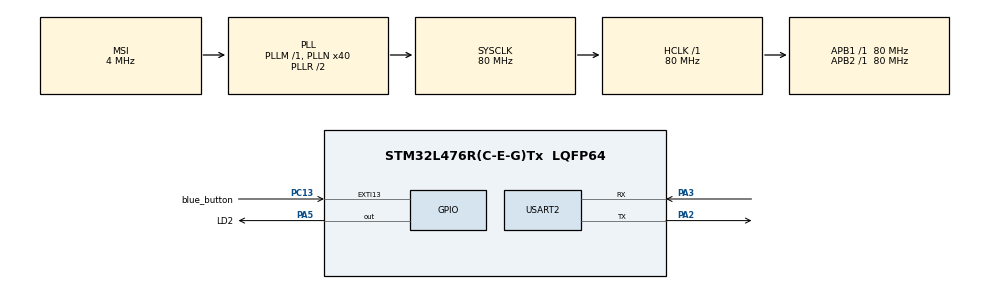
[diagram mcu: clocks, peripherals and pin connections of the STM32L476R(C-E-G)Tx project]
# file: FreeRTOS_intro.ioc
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Mcu.Family=STM32L4
RCC.MSI_VALUE=4000000
PA14\ (JTCK-SWCLK).Mode=Serial_Wire
VP_SYS_VS_tim6.Mode=TIM6
RCC.CortexFreq_Value=80000000
FREERTOS.Tasks01=blink01,24,128,StartBlink01,Default,NULL,Static,blink01Buffer,blink01ControlBlock;blink02,16,128,StartBlink02,Default,NULL,Static,blink02Buffer,blink02ControlBlock;button,40,128,StartTask03,Default,NULL,Static,buttonBuffer,buttonControlBlock
FREERTOS.BinarySemaphores01=sema_test,Static,sema_testControlBlock
NVIC.TIM6_DAC_IRQn=true\:0\:0\:false\:false\:true\:false\:false\:true
PH0-OSC_IN\ (PH0).Signal=RCC_OSC_IN
PC13.Signal=GPXTI13
PC13.GPIO_Label=blue_button
NVIC.USART2_IRQn=true\:5\:0\:false\:false\:true\:true\:true\:true
PH1-OSC_OUT\ (PH1).Signal=RCC_OSC_OUT
RCC.SYSCLKSource=RCC_SYSCLKSOURCE_PLLCLK
ProjectManager.StackSize=0x400
VP_FREERTOS_VS_CMSIS_V2.Mode=CMSIS_V2
PA14\ (JTCK-SWCLK).Signal=SYS_JTCK-SWCLK
PA3.Mode=Asynchronous
ProjectManager.TargetToolchain=STM32CubeIDE
RCC.HCLKFreq_Value=80000000
RCC.APB2TimFreq_Value=80000000
RCC.LSE_VALUE=32768
RCC.AHBFreq_Value=80000000
NVIC.EXTI15_10_IRQn=true\:5\:0\:false\:false\:true\:true\:true\:true
PA5.Signal=GPIO_Output
PH1-OSC_OUT\ (PH1).Mode=HSE-External-Oscillator
RCC.HSE_VALUE=8000000
board=custom
USART2.VirtualMode-Asynchronous=VM_ASYNC
RCC.VCOOutputFreq_Value=160000000
RCC.APB2Freq_Value=80000000
Mcu.Name=STM32L476R(C-E-G)Tx
PA2.Signal=USART2_TX
PA13\ (JTMS-SWDIO).Mode=Serial_Wire
RCC.SYSCLKFreq_VALUE=80000000
Mcu.Package=LQFP64
NVIC.TimeBase=TIM6_DAC_IRQn
PA5.GPIO_Label=LD2
PC13.GPIO_ModeDefaultEXTI=GPIO_MODE_IT_FALLING
NVIC.TimeBaseIP=TIM6
ProjectManager.HeapSize=0x200
FREERTOS.Timers01=timer_test,timer_callback,osTimerPeriodic,Default,NULL,Static,timer_testControlBlock
RCC.HSI_VALUE=16000000
FREERTOS.Mutexes01=protect,Static,myMutex01ControlBlock
NVIC.PriorityGroup=NVIC_PRIORITYGROUP_4
RCC.PLLN=40
RCC.APB1TimFreq_Value=80000000
PA2.Mode=Asynchronous
PA13\ (JTMS-SWDIO).Signal=SYS_JTMS-SWDIO
RCC.APB1Freq_Value=80000000
PH0-OSC_IN\ (PH0).Mode=HSE-External-Oscillator
NVIC.RCC_IRQn=true\:5\:0\:false\:false\:true\:true\:true\:false
PA3.Signal=USART2_RX

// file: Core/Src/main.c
/* USER CODE BEGIN Header */
/**
  ******************************************************************************
  * @file           : main.c
  * @brief          : Main program body
  ******************************************************************************
  * @attention
  *
  * <h2><center>&copy; Copyright (c) 2021 STMicroelectronics.
  * All rights reserved.</center></h2>
  *
  * This software component is licensed by ST under BSD 3-Clause license,
  * the "License"; You may not use this file except in compliance with the
  * License. You may obtain a copy of the License at:
  *                        opensource.org/licenses/BSD-3-Clause
  *
  ******************************************************************************
  */
/* USER CODE END Header */
#include "main.h"
#include "cmsis_os.h"

typedef StaticTask_t osStaticThreadDef_t;
typedef StaticTimer_t osStaticTimerDef_t;
typedef StaticSemaphore_t osStaticMutexDef_t;
typedef StaticSemaphore_t osStaticSemaphoreDef_t;

UART_HandleTypeDef huart2;

/* Definitions for blink01 */
osThreadId_t blink01Handle;
uint32_t blink01Buffer[ 128 ];
osStaticThreadDef_t blink01ControlBlock;
const osThreadAttr_t blink01_attributes = {
  .name = "blink01",
  .cb_mem = &blink01ControlBlock,
  .cb_size = sizeof(blink01ControlBlock),
  .stack_mem = &blink01Buffer[0],
  .stack_size = sizeof(blink01Buffer),
  .priority = (osPriority_t) osPriorityNormal,
};
/* Definitions for blink02 */
osThreadId_t blink02Handle;
uint32_t blink02Buffer[ 128 ];
osStaticThreadDef_t blink02ControlBlock;
const osThreadAttr_t blink02_attributes = {
  .name = "blink02",
  .cb_mem = &blink02ControlBlock,
  .cb_size = sizeof(blink02ControlBlock),
  .stack_mem = &blink02Buffer[0],
  .stack_size = sizeof(blink02Buffer),
  .priority = (osPriority_t) osPriorityBelowNormal,
};
/* Definitions for button */
osThreadId_t buttonHandle;
uint32_t buttonBuffer[ 128 ];
osStaticThreadDef_t buttonControlBlock;
const osThreadAttr_t button_attributes = {
  .name = "button",
  .cb_mem = &buttonControlBlock,
  .cb_size = sizeof(buttonControlBlock),
  .stack_mem = &buttonBuffer[0],
  .stack_size = sizeof(buttonBuffer),
  .priority = (osPriority_t) osPriorityHigh,
};
/* Definitions for timer_test */
osTimerId_t timer_testHandle;
osStaticTimerDef_t timer_testControlBlock;
const osTimerAttr_t timer_test_attributes = {
  .name = "timer_test",
  .cb_mem = &timer_testControlBlock,
  .cb_size = sizeof(timer_testControlBlock),
};
/* Definitions for protect */
osMutexId_t protectHandle;
osStaticMutexDef_t myMutex01ControlBlock;
const osMutexAttr_t protect_attributes = {
  .name = "protect",
  .cb_mem = &myMutex01ControlBlock,
  .cb_size = sizeof(myMutex01ControlBlock),
};
/* Definitions for sema_test */
osSemaphoreId_t sema_testHandle;
osStaticSemaphoreDef_t sema_testControlBlock;
const osSemaphoreAttr_t sema_test_attributes = {
  .name = "sema_test",
  .cb_mem = &sema_testControlBlock,
  .cb_size = sizeof(sema_testControlBlock),
};

void SystemClock_Config(void);
static void MX_GPIO_Init(void);
static void MX_USART2_UART_Init(void);
void StartBlink01(void *argument);
void StartBlink02(void *argument);
void StartTask03(void *argument);
void timer_callback(void *argument);

int main(void)
{

  /* MCU Configuration--------------------------------------------------------*/

  /* Reset of all peripherals, Initializes the Flash interface and the Systick. */
  HAL_Init();

  /* Configure the system clock */
  SystemClock_Config();

  /* Initialize all configured peripherals */
  MX_GPIO_Init();
  MX_USART2_UART_Init();

  /* Init scheduler */
  osKernelInitialize();
  /* Create the mutex(es) */
  /* creation of protect */
  protectHandle = osMutexNew(&protect_attributes);

  /* Create the semaphores(s) */
  /* creation of sema_test */
  sema_testHandle = osSemaphoreNew(1, 1, &sema_test_attributes);

  /* Create the timer(s) */
  /* creation of timer_test */
  timer_testHandle = osTimerNew(timer_callback, osTimerPeriodic, NULL, &timer_test_attributes);

  /* Create the thread(s) */
  /* creation of blink01 */
  blink01Handle = osThreadNew(StartBlink01, NULL, &blink01_attributes);

  /* creation of blink02 */
  blink02Handle = osThreadNew(StartBlink02, NULL, &blink02_attributes);

  /* creation of button */
  buttonHandle = osThreadNew(StartTask03, NULL, &button_attributes);

  /* Start scheduler */
  osKernelStart();

  /* We should never get here as control is now taken by the scheduler */
  /* Infinite loop */
  while (1)
  {

  }
}

void SystemClock_Config(void)
{
  RCC_OscInitTypeDef RCC_OscInitStruct = {0};
  RCC_ClkInitTypeDef RCC_ClkInitStruct = {0};
  RCC_PeriphCLKInitTypeDef PeriphClkInit = {0};

  /** Initializes the RCC Oscillators according to the specified parameters
  * in the RCC_OscInitTypeDef structure.
  */
  RCC_OscInitStruct.OscillatorType = RCC_OSCILLATORTYPE_MSI;
  RCC_OscInitStruct.MSIState = RCC_MSI_ON;
  RCC_OscInitStruct.MSICalibrationValue = 0;
  RCC_OscInitStruct.MSIClockRange = RCC_MSIRANGE_6;
  RCC_OscInitStruct.PLL.PLLState = RCC_PLL_ON;
  RCC_OscInitStruct.PLL.PLLSource = RCC_PLLSOURCE_MSI;
  RCC_OscInitStruct.PLL.PLLM = 1;
  RCC_OscInitStruct.PLL.PLLN = 40;
  RCC_OscInitStruct.PLL.PLLP = RCC_PLLP_DIV7;
  RCC_OscInitStruct.PLL.PLLQ = RCC_PLLQ_DIV2;
  RCC_OscInitStruct.PLL.PLLR = RCC_PLLR_DIV2;
  if (HAL_RCC_OscConfig(&RCC_OscInitStruct) != HAL_OK)
  {
    Error_Handler();
  }
  /** Initializes the CPU, AHB and APB buses clocks
  */
  RCC_ClkInitStruct.ClockType = RCC_CLOCKTYPE_HCLK|RCC_CLOCKTYPE_SYSCLK
                              |RCC_CLOCKTYPE_PCLK1|RCC_CLOCKTYPE_PCLK2;
  RCC_ClkInitStruct.SYSCLKSource = RCC_SYSCLKSOURCE_PLLCLK;
  RCC_ClkInitStruct.AHBCLKDivider = RCC_SYSCLK_DIV1;
  RCC_ClkInitStruct.APB1CLKDivider = RCC_HCLK_DIV1;
  RCC_ClkInitStruct.APB2CLKDivider = RCC_HCLK_DIV1;

  if (HAL_RCC_ClockConfig(&RCC_ClkInitStruct, FLASH_LATENCY_4) != HAL_OK)
  {
    Error_Handler();
  }
  PeriphClkInit.PeriphClockSelection = RCC_PERIPHCLK_USART2;
  PeriphClkInit.Usart2ClockSelection = RCC_USART2CLKSOURCE_PCLK1;
  if (HAL_RCCEx_PeriphCLKConfig(&PeriphClkInit) != HAL_OK)
  {
    Error_Handler();
  }
  /** Configure the main internal regulator output voltage
  */
  if (HAL_PWREx_ControlVoltageScaling(PWR_REGULATOR_VOLTAGE_SCALE1) != HAL_OK)
  {
    Error_Handler();
  }
}

static void MX_USART2_UART_Init(void)
{

  huart2.Instance = USART2;
  huart2.Init.BaudRate = 115200;
  huart2.Init.WordLength = UART_WORDLENGTH_8B;
  huart2.Init.StopBits = UART_STOPBITS_1;
  huart2.Init.Parity = UART_PARITY_NONE;
  huart2.Init.Mode = UART_MODE_TX_RX;
  huart2.Init.HwFlowCtl = UART_HWCONTROL_NONE;
  huart2.Init.OverSampling = UART_OVERSAMPLING_16;
  huart2.Init.OneBitSampling = UART_ONE_BIT_SAMPLE_DISABLE;
  huart2.AdvancedInit.AdvFeatureInit = UART_ADVFEATURE_NO_INIT;
  if (HAL_UART_Init(&huart2) != HAL_OK)
  {
    Error_Handler();
  }

}

static void MX_GPIO_Init(void)
{
  GPIO_InitTypeDef GPIO_InitStruct = {0};

  /* GPIO Ports Clock Enable */
  __HAL_RCC_GPIOC_CLK_ENABLE();
  __HAL_RCC_GPIOH_CLK_ENABLE();
  __HAL_RCC_GPIOA_CLK_ENABLE();

  /*Configure GPIO pin Output Level */
  HAL_GPIO_WritePin(LD2_GPIO_Port, LD2_Pin, GPIO_PIN_RESET);

  /*Configure GPIO pin : blue_button_Pin */
  GPIO_InitStruct.Pin = blue_button_Pin;
  GPIO_InitStruct.Mode = GPIO_MODE_IT_FALLING;
  GPIO_InitStruct.Pull = GPIO_NOPULL;
  HAL_GPIO_Init(blue_button_GPIO_Port, &GPIO_InitStruct);

  /*Configure GPIO pin : LD2_Pin */
  GPIO_InitStruct.Pin = LD2_Pin;
  GPIO_InitStruct.Mode = GPIO_MODE_OUTPUT_PP;
  GPIO_InitStruct.Pull = GPIO_NOPULL;
  GPIO_InitStruct.Speed = GPIO_SPEED_FREQ_LOW;
  HAL_GPIO_Init(LD2_GPIO_Port, &GPIO_InitStruct);

  /* EXTI interrupt init*/
  HAL_NVIC_SetPriority(EXTI15_10_IRQn, 5, 0);
  HAL_NVIC_EnableIRQ(EXTI15_10_IRQn);

}

/* USER CODE BEGIN 4 */
void EXTI15_10_IRQHandler(void)
{
  HAL_GPIO_EXTI_IRQHandler(GPIO_PIN_13);
  BaseType_t checkIfYieldRequired;
  checkIfYieldRequired = xTaskResumeFromISR(buttonHandle);
  portYIELD_FROM_ISR(checkIfYieldRequired);
}
/* USER CODE END 4 */

void StartBlink01(void *argument)
{
  /* USER CODE BEGIN 5 */
  /* Infinite loop */
  for(;;)
  {
	  //example of taking mutex and freeing it
	  osSemaphoreAcquire(sema_testHandle, osWaitForever);
	  //osMutexWait(protectHandle, osWaitForever);
	  HAL_GPIO_WritePin(GPIOA, GPIO_PIN_5, GPIO_PIN_RESET);
	  //osMutexRelease(protectHandle);
	  osDelay(1500);
	  osSemaphoreRelease(sema_testHandle);
	  osDelay(50);
  }
  //line below is for the even that the loop somehow gets exited
  osThreadTerminate(NULL);
  /* USER CODE END 5 */
}

void StartBlink02(void *argument)
{
  /* USER CODE BEGIN StartBlink02 */
  /* Infinite loop */
  for(;;)
  {
	  osSemaphoreAcquire(sema_testHandle, osWaitForever);
	  	  //osMutexRelease(protectHandle);
	  HAL_GPIO_WritePin(GPIOA, GPIO_PIN_5, GPIO_PIN_SET);
	  osDelay(400);
	  osSemaphoreRelease(sema_testHandle);
  }
  //line below is for the even that the loop somehow gets exited
  osThreadTerminate(NULL);
  /* USER CODE END StartBlink02 */
}

void StartTask03(void *argument)
{
  /* USER CODE BEGIN StartTask03 */
  /* Infinite loop */
  for(;;)
  {
	vTaskSuspend(NULL); //suspend task each time, wait for external signal
	//set the pin value to 0
	HAL_GPIO_WritePin(GPIOA, GPIO_PIN_5, GPIO_PIN_SET);
	osDelay(2500);
	//block task
  }
  /* USER CODE END StartTask03 */
}

/* timer_callback function */
void timer_callback(void *argument)
{
}

 /**
  * @brief  Period elapsed callback in non blocking mode
  * @note   This function is called  when TIM6 interrupt took place, inside
  * HAL_TIM_IRQHandler(). It makes a direct call to HAL_IncTick() to increment
  * a global variable "uwTick" used as application time base.
  * @param  htim : TIM handle
  * @retval None
  */
void HAL_TIM_PeriodElapsedCallback(TIM_HandleTypeDef *htim)
{
  if (htim->Instance == TIM6) {
    HAL_IncTick();
  }
}

void Error_Handler(void)
{
  __disable_irq();
  while (1)
  {
  }
}

/************************ (C) COPYRIGHT STMicroelectronics *****END OF FILE****/
